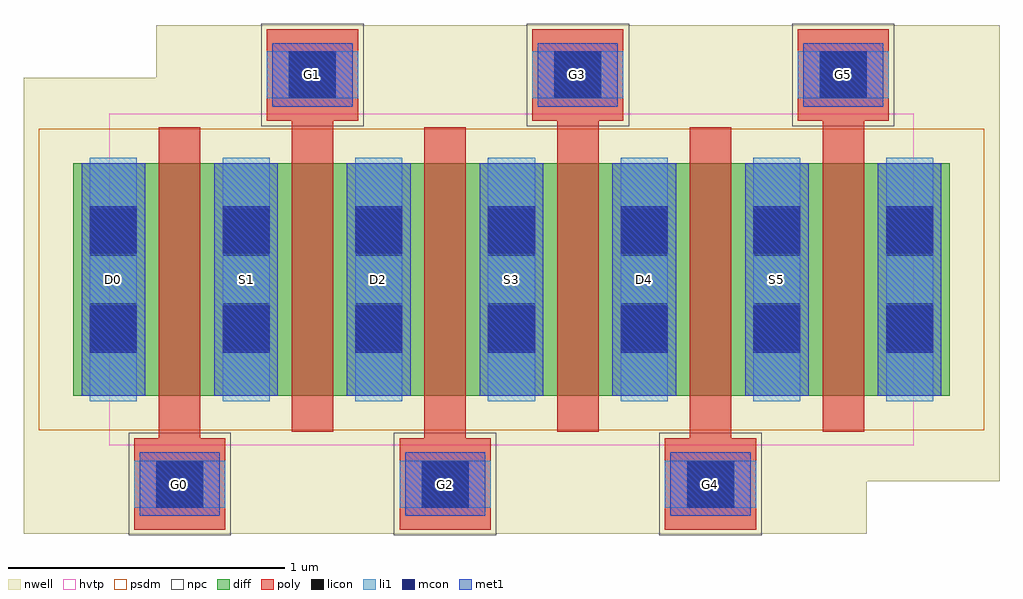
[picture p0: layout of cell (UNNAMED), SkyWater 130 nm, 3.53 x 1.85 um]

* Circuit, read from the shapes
.subckt (UNNAMED) D0 D2 D4 G0 G1 G2 G3 G4 G5 S1 S3 S5
XM1 S1 G0 D0 n1 sky130_fd_pr__pfet_01v8_hvt w=0.84 l=0.15
XM2 D2 G1 S1 n1 sky130_fd_pr__pfet_01v8_hvt w=0.84 l=0.15
XM3 S3 G2 D2 n1 sky130_fd_pr__pfet_01v8_hvt w=0.84 l=0.15
XM4 D4 G3 S3 n1 sky130_fd_pr__pfet_01v8_hvt w=0.84 l=0.15
XM5 S5 G4 D4 n1 sky130_fd_pr__pfet_01v8_hvt w=0.84 l=0.15
XM6 n2 G5 S5 n1 sky130_fd_pr__pfet_01v8_hvt w=0.84 l=0.15
.ends

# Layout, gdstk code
import gdstk
lib = gdstk.Library(unit=1e-6, precision=1e-09)
def R(c, l, rs):  # rectangles x0, y0, x1, y1
    for r in rs: c.add(gdstk.rectangle(r[:2], r[2:], *l))
def A(c, l, x, y, w, h, nx, ny, dx, dy):  # array of equal rectangles
    R(c, l, [(x+i*dx, y+j*dy, x+i*dx+w, y+j*dy+h) for i in range(nx) for j in range(ny)])
nwell = (64, 20)
diff = (65, 20)
poly = (66, 20)
licon = (66, 44)
li1 = (67, 20)
mcon = (67, 44)
met1 = (68, 20)
hvtp = (78, 44)
psdm = (94, 20)
npc = (95, 20)

c__unnamed_ = lib.new_cell('(UNNAMED)')
R(c__unnamed_, nwell, [(-1.765,-0.92,1.285,-0.73), (-1.765,-0.73,1.765,0.73), (-1.285,0.73,1.765,0.92)])
R(c__unnamed_, diff, [(-1.585,-0.42,1.585,0.42)])
A(c__unnamed_, poly, -1.365, -0.905, 0.33, 0.33, 3, 1, 0.96, 0)
A(c__unnamed_, poly, -1.275, -0.575, 0.15, 1.125, 3, 1, 0.96, 0)
A(c__unnamed_, poly, -0.795, -0.55, 0.15, 1.125, 3, 1, 0.96, 0)
A(c__unnamed_, poly, -0.885, 0.575, 0.33, 0.33, 3, 1, 0.96, 0)
A(c__unnamed_, licon, -1.285, -0.825, 0.17, 0.17, 3, 1, 0.96, 0)
A(c__unnamed_, licon, -1.525, -0.255, 0.17, 0.17, 7, 2, 0.48, 0.34)
A(c__unnamed_, licon, -0.805, 0.655, 0.17, 0.17, 3, 1, 0.96, 0)
A(c__unnamed_, li1, -1.365, -0.825, 0.33, 0.17, 3, 1, 0.96, 0)
A(c__unnamed_, li1, -1.525, -0.44, 0.17, 0.88, 7, 1, 0.48, 0)
A(c__unnamed_, li1, -0.885, 0.655, 0.33, 0.17, 3, 1, 0.96, 0)
A(c__unnamed_, mcon, -1.285, -0.825, 0.17, 0.17, 3, 1, 0.96, 0)
A(c__unnamed_, mcon, -1.525, -0.265, 0.17, 0.17, 7, 2, 0.48, 0.36)
A(c__unnamed_, mcon, -0.805, 0.655, 0.17, 0.17, 3, 1, 0.96, 0)
A(c__unnamed_, met1, -1.345, -0.855, 0.29, 0.23, 3, 1, 0.96, 0)
A(c__unnamed_, met1, -1.555, -0.42, 0.23, 0.84, 7, 1, 0.48, 0)
A(c__unnamed_, met1, -0.865, 0.625, 0.29, 0.23, 3, 1, 0.96, 0)
R(c__unnamed_, hvtp, [(-1.455,-0.6,1.455,0.6)])
R(c__unnamed_, psdm, [(-1.71,-0.545,1.71,0.545)])
A(c__unnamed_, npc, -1.385, -0.925, 0.37, 0.37, 3, 1, 0.96, 0)
A(c__unnamed_, npc, -0.905, 0.555, 0.37, 0.37, 3, 1, 0.96, 0)
c__unnamed_.add(gdstk.Label('D0', (-1.44,0), layer=67, texttype=5))
c__unnamed_.add(gdstk.Label('G0', (-1.2,-0.74), layer=67, texttype=5))
c__unnamed_.add(gdstk.Label('S1', (-0.96,0), layer=67, texttype=5))
c__unnamed_.add(gdstk.Label('G1', (-0.72,0.74), layer=67, texttype=5))
c__unnamed_.add(gdstk.Label('D2', (-0.48,0), layer=67, texttype=5))
c__unnamed_.add(gdstk.Label('G2', (-0.24,-0.74), layer=67, texttype=5))
c__unnamed_.add(gdstk.Label('S3', (0,0), layer=67, texttype=5))
c__unnamed_.add(gdstk.Label('G3', (0.24,0.74), layer=67, texttype=5))
c__unnamed_.add(gdstk.Label('D4', (0.48,0), layer=67, texttype=5))
c__unnamed_.add(gdstk.Label('G4', (0.72,-0.74), layer=67, texttype=5))
c__unnamed_.add(gdstk.Label('S5', (0.96,0), layer=67, texttype=5))
c__unnamed_.add(gdstk.Label('G5', (1.2,0.74), layer=67, texttype=5))

lib.write_gds('_UNNAMED_.gds')
